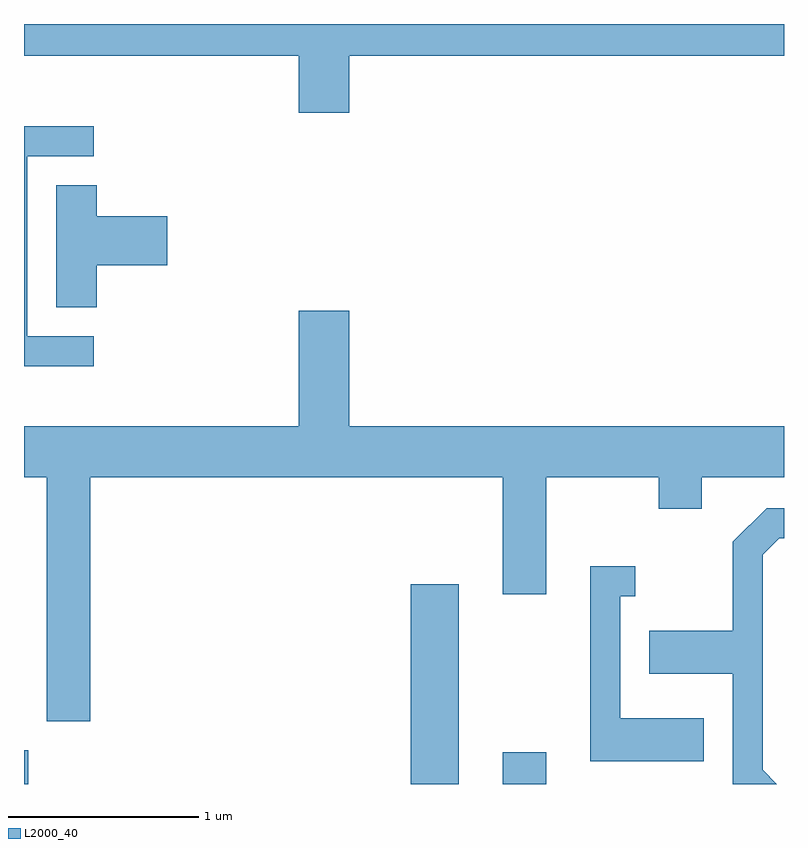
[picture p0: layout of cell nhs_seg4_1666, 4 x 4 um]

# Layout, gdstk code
import gdstk
lib = gdstk.Library(unit=1e-6, precision=1e-09)
def R(c, l, rs):  # rectangles x0, y0, x1, y1
    for r in rs: c.add(gdstk.rectangle(r[:2], r[2:], *l))
def P(c, l, *ps):  # polygons
    for p in ps: c.add(gdstk.Polygon(p, *l))
L2000_40 = (2000, 40)

nhs_seg4_1666 = lib.new_cell('nhs_seg4_1666')
R(nhs_seg4_1666, L2000_40, [(233.611,1321.982,233.634,1322.159), (235.646,1321.982,235.899,1323.034), (236.131,1321.982,236.359,1322.149)])
P(nhs_seg4_1666, L2000_40, [(235.324,1325.816),(237.611,1325.816),(237.611,1325.982),(233.611,1325.982),(233.611,1325.816),(235.056,1325.816),(235.056,1325.516),(235.324,1325.516)],
  [(233.978,1324.339),(233.629,1324.339),(233.629,1325.286),(233.978,1325.286),(233.978,1325.444),(233.611,1325.444),(233.611,1324.181),(233.978,1324.181)],
  [(233.994,1324.711),(234.364,1324.711),(234.364,1324.969),(233.994,1324.969),(233.994,1325.134),(233.781,1325.134),(233.781,1324.491),(233.994,1324.491)],
  [(233.959,1323.596),(236.131,1323.596),(236.131,1322.981),(236.359,1322.981),(236.359,1323.596),(236.951,1323.596),(236.951,1323.431),(237.179,1323.431),(237.179,1323.596),(237.611,1323.596),(237.611,1323.864),(235.324,1323.864),(235.324,1324.474),(235.056,1324.474),(235.056,1323.864),(233.611,1323.864),(233.611,1323.596),(233.731,1323.596),(233.731,1322.311),(233.959,1322.311)],
  [(237.499,1322.057),(237.499,1323.189),(237.587,1323.276),(237.611,1323.276),(237.611,1323.434),(237.519,1323.434),(237.341,1323.257),(237.341,1322.789),(236.901,1322.789),(236.901,1322.561),(237.341,1322.561),(237.341,1321.982),(237.574,1321.982)],
  [(237.189,1322.329),(236.749,1322.329),(236.749,1322.971),(236.828,1322.971),(236.828,1323.129),(236.591,1323.129),(236.591,1322.101),(237.189,1322.101)])

lib.write_gds('nhs_seg4_1666.gds')
